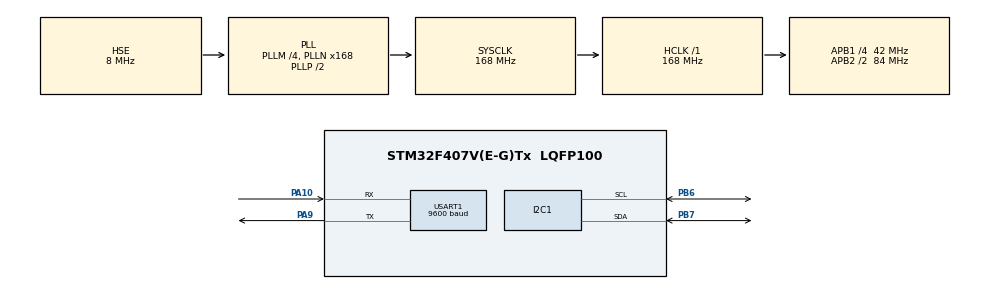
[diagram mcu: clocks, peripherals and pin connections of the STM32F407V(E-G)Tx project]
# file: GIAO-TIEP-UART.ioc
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Mcu.Family=STM32F4
Mcu.Name=STM32F407V(E-G)Tx
Mcu.Package=LQFP100
NVIC.PriorityGroup=NVIC_PRIORITYGROUP_4
NVIC.USART1_IRQn=true\:0\:0\:false\:false\:true\:true\:true
PA10.Mode=Asynchronous
PA10.Signal=USART1_RX
PA13.Mode=Serial_Wire
PA13.Signal=SYS_JTMS-SWDIO
PA14.Mode=Serial_Wire
PA14.Signal=SYS_JTCK-SWCLK
PA9.Mode=Asynchronous
PA9.Signal=USART1_TX
PB6.Mode=I2C
PB6.Signal=I2C1_SCL
PB7.Mode=I2C
PB7.Signal=I2C1_SDA
PH0-OSC_IN.Mode=HSE-External-Oscillator
PH0-OSC_IN.Signal=RCC_OSC_IN
PH1-OSC_OUT.Mode=HSE-External-Oscillator
PH1-OSC_OUT.Signal=RCC_OSC_OUT
ProjectManager.HeapSize=0x200
ProjectManager.StackSize=0x400
ProjectManager.TargetToolchain=MDK-ARM V5.32
RCC.48MHZClocksFreq_Value=84000000
RCC.AHBFreq_Value=168000000
RCC.APB1CLKDivider=RCC_HCLK_DIV4
RCC.APB1Freq_Value=42000000
RCC.APB1TimFreq_Value=84000000
RCC.APB2CLKDivider=RCC_HCLK_DIV2
RCC.APB2Freq_Value=84000000
RCC.APB2TimFreq_Value=168000000
RCC.CortexFreq_Value=168000000
RCC.HCLKFreq_Value=168000000
RCC.HSE_VALUE=8000000
RCC.HSI_VALUE=16000000
RCC.LSE_VALUE=32768
RCC.PLLM=4
RCC.PLLN=168
RCC.PLLSourceVirtual=RCC_PLLSOURCE_HSE
RCC.SYSCLKFreq_VALUE=168000000
RCC.SYSCLKSource=RCC_SYSCLKSOURCE_PLLCLK
RCC.VCOOutputFreq_Value=336000000
USART1.BaudRate=9600
USART1.VirtualMode=VM_ASYNC
board=custom

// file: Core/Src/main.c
/* USER CODE BEGIN Header */
/**
  ******************************************************************************
  * @file           : main.c
  * @brief          : Main program body
  ******************************************************************************
  * @attention
  *
  * Copyright (c) 2022 STMicroelectronics.
  * All rights reserved.
  *
  * This software is licensed under terms that can be found in the LICENSE file
  * in the root directory of this software component.
  * If no LICENSE file comes with this software, it is provided AS-IS.
  *
  ******************************************************************************
  */
/* USER CODE END Header */
#include "main.h"

/* USER CODE BEGIN Includes */
#include"i2c-lcd.h"
/* USER CODE END Includes */

I2C_HandleTypeDef hi2c1;

UART_HandleTypeDef huart1;

void SystemClock_Config(void);
static void MX_GPIO_Init(void);
static void MX_I2C1_Init(void);
static void MX_USART1_UART_Init(void);

/* USER CODE BEGIN 0 */

uint8_t u8_RxBuff[20]; // buffer luu chuoi nhan duoc
uint8_t u8_RxData; // luu byte nhan duoc
uint8_t _rxIndex; // con tro cua rxbuff

uint8_t u8_TxBuff[20] = "Hello Anh em !!!!"; // buffer truyen di
uint16_t Tx_FLag = 0;

void HAL_UART_RxCpltCallback(UART_HandleTypeDef *huart)
{
  /* Prevent unused argument(s) compilation warning */
  UNUSED(huart);
	if(huart->Instance == USART1)
	{
		if(u8_RxData != 13) // NULL ASCII
		{
			u8_RxBuff[_rxIndex++] = u8_RxData; //Them du lieu vao Buffer
		}
		else if(u8_RxData == 13)
		{
			_rxIndex = 0;// Xoa con tro du lieu
			Tx_FLag = 1;
		}
		HAL_UART_Receive_IT(&huart1, &u8_RxData, 1);
			//HAL_UART_Transmit(&huart1, u8_RxBuff, sizeof(u8_RxBuff),100);
	}
  /* NOTE: This function should not be modified, when the callback is needed,
           the HAL_UART_RxCpltCallback could be implemented in the user file
   */
}

/* USER CODE END 0 */

int main(void)
{

  /* MCU Configuration--------------------------------------------------------*/

  /* Reset of all peripherals, Initializes the Flash interface and the Systick. */
  HAL_Init();

  /* Configure the system clock */
  SystemClock_Config();

  /* Initialize all configured peripherals */
  MX_GPIO_Init();
  MX_I2C1_Init();
  MX_USART1_UART_Init();
  /* USER CODE BEGIN 2 */

	HAL_UART_Transmit(&huart1, u8_TxBuff, sizeof(u8_TxBuff),100);
	HAL_UART_Receive_IT(&huart1, &u8_RxData,1);

	LCD_Init();

	LCD_Set_Cursor(1,1);
	LCD_Write_String("I2C LCD");

//	HAL_UART_Transmit(&huart1, u8_TxBuff, sizeof(u8_TxBuff),100);
//	HAL_UART_Receive_DMA(&huart1, u8_RxBuff, sizeof(u8_RxBuff));

  /* USER CODE END 2 */

  /* Infinite loop */
  while (1)
  {

    /* USER CODE BEGIN 3 */

		if(Tx_FLag)
		{
			for(int i = 0; i< 20; i++) // coppy du lieu tu Rx sang Tx
			{
				u8_TxBuff[i] = u8_RxBuff[i];
			}
			HAL_UART_Transmit(&huart1, u8_TxBuff, sizeof(u8_TxBuff),100);
			Tx_FLag = 0;
		}

  }
  /* USER CODE END 3 */
}

void SystemClock_Config(void)
{
  RCC_OscInitTypeDef RCC_OscInitStruct = {0};
  RCC_ClkInitTypeDef RCC_ClkInitStruct = {0};

  /** Configure the main internal regulator output voltage
  */
  __HAL_RCC_PWR_CLK_ENABLE();
  __HAL_PWR_VOLTAGESCALING_CONFIG(PWR_REGULATOR_VOLTAGE_SCALE1);
  /** Initializes the RCC Oscillators according to the specified parameters
  * in the RCC_OscInitTypeDef structure.
  */
  RCC_OscInitStruct.OscillatorType = RCC_OSCILLATORTYPE_HSE;
  RCC_OscInitStruct.HSEState = RCC_HSE_ON;
  RCC_OscInitStruct.PLL.PLLState = RCC_PLL_ON;
  RCC_OscInitStruct.PLL.PLLSource = RCC_PLLSOURCE_HSE;
  RCC_OscInitStruct.PLL.PLLM = 4;
  RCC_OscInitStruct.PLL.PLLN = 168;
  RCC_OscInitStruct.PLL.PLLP = RCC_PLLP_DIV2;
  RCC_OscInitStruct.PLL.PLLQ = 4;
  if (HAL_RCC_OscConfig(&RCC_OscInitStruct) != HAL_OK)
  {
    Error_Handler();
  }
  /** Initializes the CPU, AHB and APB buses clocks
  */
  RCC_ClkInitStruct.ClockType = RCC_CLOCKTYPE_HCLK|RCC_CLOCKTYPE_SYSCLK
                              |RCC_CLOCKTYPE_PCLK1|RCC_CLOCKTYPE_PCLK2;
  RCC_ClkInitStruct.SYSCLKSource = RCC_SYSCLKSOURCE_PLLCLK;
  RCC_ClkInitStruct.AHBCLKDivider = RCC_SYSCLK_DIV1;
  RCC_ClkInitStruct.APB1CLKDivider = RCC_HCLK_DIV4;
  RCC_ClkInitStruct.APB2CLKDivider = RCC_HCLK_DIV2;

  if (HAL_RCC_ClockConfig(&RCC_ClkInitStruct, FLASH_LATENCY_5) != HAL_OK)
  {
    Error_Handler();
  }
}

static void MX_I2C1_Init(void)
{

  hi2c1.Instance = I2C1;
  hi2c1.Init.ClockSpeed = 100000;
  hi2c1.Init.DutyCycle = I2C_DUTYCYCLE_2;
  hi2c1.Init.OwnAddress1 = 0;
  hi2c1.Init.AddressingMode = I2C_ADDRESSINGMODE_7BIT;
  hi2c1.Init.DualAddressMode = I2C_DUALADDRESS_DISABLE;
  hi2c1.Init.OwnAddress2 = 0;
  hi2c1.Init.GeneralCallMode = I2C_GENERALCALL_DISABLE;
  hi2c1.Init.NoStretchMode = I2C_NOSTRETCH_DISABLE;
  if (HAL_I2C_Init(&hi2c1) != HAL_OK)
  {
    Error_Handler();
  }

}

static void MX_USART1_UART_Init(void)
{

  huart1.Instance = USART1;
  huart1.Init.BaudRate = 115200;
  huart1.Init.WordLength = UART_WORDLENGTH_8B;
  huart1.Init.StopBits = UART_STOPBITS_1;
  huart1.Init.Parity = UART_PARITY_NONE;
  huart1.Init.Mode = UART_MODE_TX_RX;
  huart1.Init.HwFlowCtl = UART_HWCONTROL_NONE;
  huart1.Init.OverSampling = UART_OVERSAMPLING_16;
  if (HAL_UART_Init(&huart1) != HAL_OK)
  {
    Error_Handler();
  }

}

static void MX_GPIO_Init(void)
{

  /* GPIO Ports Clock Enable */
  __HAL_RCC_GPIOH_CLK_ENABLE();
  __HAL_RCC_GPIOA_CLK_ENABLE();
  __HAL_RCC_GPIOB_CLK_ENABLE();

}

void Error_Handler(void)
{
  __disable_irq();
  while (1)
  {
  }
}
